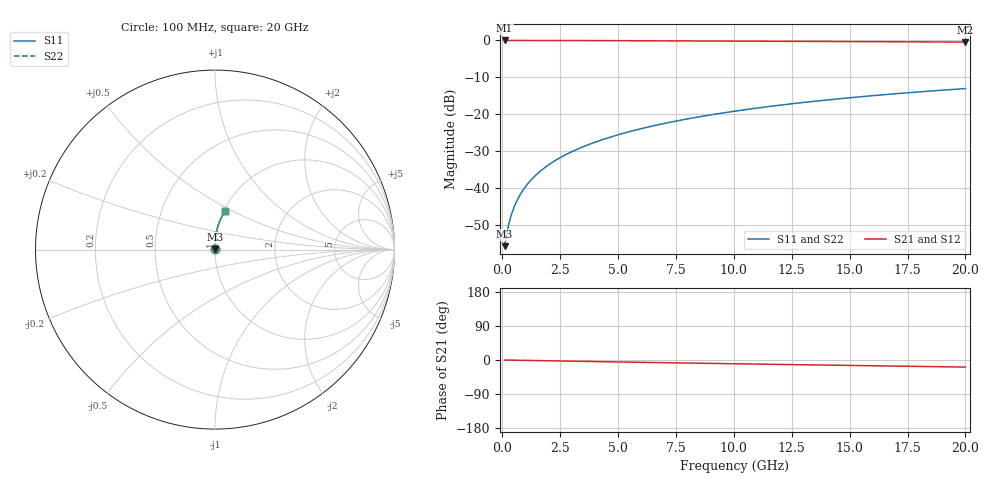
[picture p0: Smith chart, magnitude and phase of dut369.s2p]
! Touchstone file exported from HFSS 2024.1.0
!  File:  C:/UserFiles/LocalFiles/RDL_TSV_Batchsim/temp_RDL_bottom_369_1779613260.aedt
!  Generated:  05:04:21 PM May 24, 2026
!  Design:  RDL_bottom
!  Project:  temp_RDL_bottom_369_1779613260
!  Setup:  Setup1
!  Solution:  Sweep
! Variables:
!  dtsv = 10.80580581um
!  hbump = 3um
!  htsv = 88.83um
!  ldown = 204.54um
!  lrdl = 100um
!  p = 40
!  p1 = 57.87um
!  rhole = 1um
!  t = 450um
!  tdown = 3.46um
!  trdl = 3.915915916um
!  wdown = 20.99um
!  wrdl = 20um
# GHz S MA R 50.000000
! Terminal data exported
! Port[1] = RDL1_T1
! Port[2] = RDL1_T2
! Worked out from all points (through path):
!   200 points, 100 MHz to 20 GHz, reference 50 ohm
!   highest |S21| = -0.01 dB at 100 MHz (marker M1); lowest = -0.4 dB at 20 GHz (marker M2)
!   group delay of S21, straight-line fit = 2.57 ps
!   lowest |S11| = -55.8 dB at 100 MHz (marker M3), VSWR 1.00, Z = 50.1 + j0.109 ohm
!   |S11| at or under -10 dB: start of sweep to end of sweep
!   |S22| runs from -55.8 to -13.0 dB; largest |S21 - S12| = 4.1e-15
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0.1  0.001629 41.8  0.9988 -0.1  0.9988 -0.1  0.001629 41.8
! Gamma 0 0 0 0
! Port Impedance 50 0 50 0
0.2  0.00249 59.7  0.9987 -0.2  0.9987 -0.2  0.00249 59.7
0.3  0.003446 67.8  0.9987 -0.3  0.9987 -0.3  0.003446 67.8
0.4  0.004423 72.4  0.9986 -0.4  0.9986 -0.4  0.004423 72.4
0.5  0.005407 75.3  0.9985 -0.5  0.9985 -0.5  0.005407 75.3
0.6  0.006396 77.4  0.9985 -0.6  0.9985 -0.6  0.006396 77.4
0.8  0.008387 80.2  0.9984 -0.9  0.9984 -0.9  0.008387 80.2
1.1  0.0114 82.7  0.9982 -1.2  0.9982 -1.2  0.0114 82.7
1.5  0.01547 84.6  0.9978 -1.6  0.9978 -1.6  0.01547 84.6
1.8  0.01854 85.5  0.9975 -1.9  0.9975 -1.9  0.01854 85.5
2.1  0.02163 86.1  0.9972 -2.2  0.9972 -2.2  0.02163 86.1
2.7  0.02788 86.9  0.9963 -2.9  0.9963 -2.9  0.02788 86.9
3.5  0.03634 87.4  0.995 -3.7  0.995 -3.7  0.03634 87.4
4.2  0.04386 87.5  0.9936 -4.4  0.9936 -4.4  0.04386 87.5
5  0.0526 87.5  0.9918 -5.2  0.9918 -5.2  0.0526 87.5
5.9  0.0626 87.3  0.9896 -6.1  0.9896 -6.1  0.0626 87.3
6.8  0.07274 86.8  0.9874 -6.9  0.9874 -6.9  0.07274 86.8
8.4  0.09104 85.8  0.9831 -8.4  0.9831 -8.4  0.09104 85.8
10.1  0.1107 84.5  0.9785 -10.0  0.9785 -10.0  0.1107 84.5
13.4  0.1488 81.5  0.9693 -13.0  0.9693 -13.0  0.1488 81.5
16.7  0.1863 78.4  0.9597 -15.9  0.9597 -15.9  0.1863 78.4
20  0.2226 75.2  0.9497 -18.7  0.9497 -18.7  0.2226 75.2
